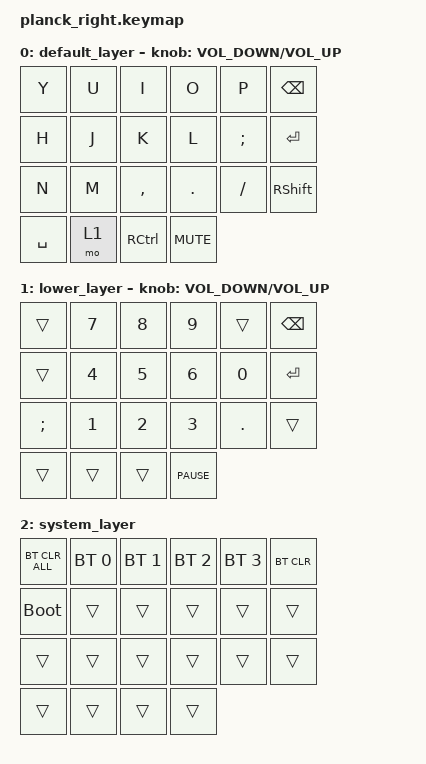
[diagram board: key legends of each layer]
#include <behaviors.dtsi>
#include <dt-bindings/zmk/keys.h>
#include <dt-bindings/zmk/bt.h>

/ {
    keymap {
        compatible = "zmk,keymap";

        // 位置顺序（22 键，见 planck_right.dts 覆盖后的 default_transform map）：
        //  0  1  2  3  4  5
        //  6  7  8  9 10 11
        // 12 13 14 15 16 17
        // 18 19 20 21             (21 = 编码器按压)
        default_layer {
            bindings = <
&kp Y      &kp U          &kp I      &kp O    &kp P     &kp BACKSPACE
&kp H      &kp J          &kp K      &kp L    &kp SEMI  &kp RETURN
&kp N      &kp M          &kp COMMA  &kp DOT  &kp FSLH  &kp RIGHT_SHIFT
&kp SPACE  &mo 1          &kp RCTRL  &kp K_MUTE
            >;

            sensor-bindings = <&inc_dec_kp C_VOLUME_DOWN C_VOL_UP>;
        };

        lower_layer {
            bindings = <
&trans     &kp N7  &kp N8  &kp N9  &trans   &kp BSPC
&trans     &kp N4  &kp N5  &kp N6  &kp N0   &kp ENTER
&kp SEMI   &kp N1  &kp N2  &kp N3  &kp DOT  &trans
&trans     &trans  &trans  &kp C_PAUSE
            >;

            sensor-bindings = <&inc_dec_kp C_VOLUME_DOWN C_VOL_UP>;
        };

        // 系统层：蓝牙管理 + bootloader（通过 combo 进入）。
        system_layer {
            bindings = <
&bt BT_CLR_ALL  &bt BT_SEL 0  &bt BT_SEL 1  &bt BT_SEL 2  &bt BT_SEL 3  &bt BT_CLR
&bootloader     &trans        &trans        &trans        &trans        &trans
&trans          &trans        &trans        &trans        &trans        &trans
&trans          &trans        &trans        &trans
            >;
        };
    };

    combos {
        compatible = "zmk,combos";
        // 左上三键同时按住进入系统层（同板组合）。
        combo_system {
            timeout-ms = <50>;
            key-positions = <0 6 12>;
            bindings = <&mo 2>;
            layers = <0>;
        };
    };
};
